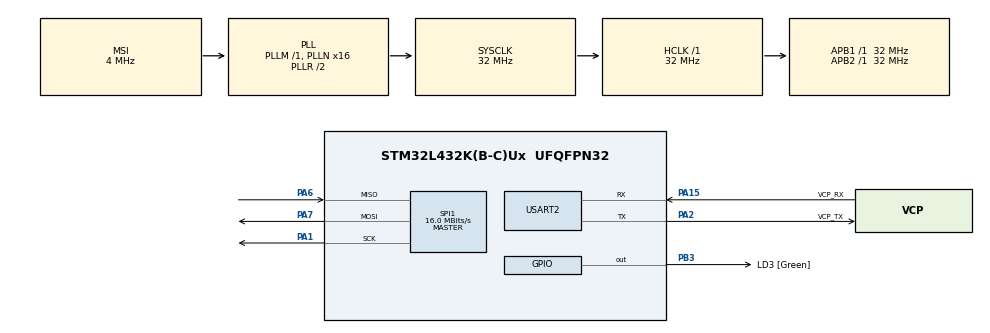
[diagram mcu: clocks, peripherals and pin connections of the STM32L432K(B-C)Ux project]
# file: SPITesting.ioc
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Mcu.Family=STM32L4
Mcu.Name=STM32L432K(B-C)Ux
Mcu.Package=UFQFPN32
NVIC.PriorityGroup=NVIC_PRIORITYGROUP_4
PA0.GPIO_Label=MCO [High speed clock in]
PA0.Mode=HSE-External-Clock-Source-for-LittleOrca
PA0.Signal=RCC_CK_IN
PA1.Mode=Full_Duplex_Master
PA1.Signal=SPI1_SCK
PA13\ (JTMS-SWDIO).GPIO_Label=SWDIO
PA13\ (JTMS-SWDIO).Mode=Serial_Wire
PA13\ (JTMS-SWDIO).Signal=SYS_JTMS-SWDIO
PA14\ (JTCK-SWCLK).GPIO_Label=SWCLK
PA14\ (JTCK-SWCLK).Mode=Serial_Wire
PA14\ (JTCK-SWCLK).Signal=SYS_JTCK-SWCLK
PA15\ (JTDI).GPIO_Label=VCP_RX
PA15\ (JTDI).Mode=Asynchronous
PA15\ (JTDI).Signal=USART2_RX
PA2.GPIO_Label=VCP_TX
PA2.Mode=Asynchronous
PA2.Signal=USART2_TX
PA6.Mode=Full_Duplex_Master
PA6.Signal=SPI1_MISO
PA7.Mode=Full_Duplex_Master
PA7.Signal=SPI1_MOSI
PB3\ (JTDO-TRACESWO).GPIO_Label=LD3 [Green]
PB3\ (JTDO-TRACESWO).Signal=GPIO_Output
PC14-OSC32_IN\ (PC14).Mode=LSE-External-Oscillator
PC14-OSC32_IN\ (PC14).Signal=RCC_OSC32_IN
PC15-OSC32_OUT\ (PC15).Mode=LSE-External-Oscillator
PC15-OSC32_OUT\ (PC15).Signal=RCC_OSC32_OUT
ProjectManager.HeapSize=0x200
ProjectManager.StackSize=0x400
ProjectManager.TargetToolchain=STM32CubeIDE
RCC.AHBFreq_Value=32000000
RCC.APB1Freq_Value=32000000
RCC.APB1TimFreq_Value=32000000
RCC.APB2Freq_Value=32000000
RCC.APB2TimFreq_Value=32000000
RCC.CortexFreq_Value=32000000
RCC.HCLKFreq_Value=32000000
RCC.HSE_VALUE=8000000
RCC.HSI16_VALUE=16000000
RCC.HSI48_VALUE=48000000
RCC.HSI_VALUE=16000000
RCC.MSI_VALUE=4000000
RCC.PLLMUL=RCC_PLLMUL_4
RCC.PLLN=16
RCC.SYSCLKFreq_VALUE=32000000
RCC.SYSCLKSource=RCC_SYSCLKSOURCE_PLLCLK
RCC.VCOOutputFreq_Value=64000000
SPI1.CalculateBaudRate=16.0 MBits/s
SPI1.DataSize=SPI_DATASIZE_4BIT
SPI1.Direction=SPI_DIRECTION_2LINES
SPI1.Mode=SPI_MODE_MASTER
SPI1.VirtualType=VM_MASTER
USART2.VirtualMode-Asynchronous=VM_ASYNC
board=NUCLEO-L432KC

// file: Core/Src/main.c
/* USER CODE BEGIN Header */
/**
  ******************************************************************************
  * @file           : main.c
  * @brief          : Main program body
  ******************************************************************************
  * @attention
  *
  * Copyright (c) 2024 STMicroelectronics.
  * All rights reserved.
  *
  * This software is licensed under terms that can be found in the LICENSE file
  * in the root directory of this software component.
  * If no LICENSE file comes with this software, it is provided AS-IS.
  *
  ******************************************************************************
  */
/* USER CODE END Header */
#include "main.h"

/* USER CODE BEGIN Includes */
#include <stdio.h>
#include <sys/unistd.h>

/* USER CODE END Includes */

SPI_HandleTypeDef hspi1;

UART_HandleTypeDef huart2;

void SystemClock_Config(void);
static void MX_GPIO_Init(void);
static void MX_USART2_UART_Init(void);
static void MX_SPI1_Init(void);
/* USER CODE BEGIN PFP */
void Radar_Receive(void);
void ProcessRadarData(uint8_t *data);
/* USER CODE END PFP */

/* USER CODE BEGIN 0 */

int _write(int file, char *data, int len) {
    for (int i = 0; i < len; i++) {
        ITM_SendChar(data[i]);  // ITM for semihosting
    }
    return len;
}

/* USER CODE END 0 */

int main(void)
{

  /* MCU Configuration--------------------------------------------------------*/

  /* Reset of all peripherals, Initializes the Flash interface and the Systick. */
  HAL_Init();

  /* Configure the system clock */
  SystemClock_Config();

  /* Initialize all configured peripherals */
  MX_GPIO_Init();
  MX_USART2_UART_Init();
  MX_SPI1_Init();

  /* Infinite loop */
  /* USER CODE BEGIN WHILE */
  while (1)
  {
	  Radar_Receive();
	  HAL_Delay(100); // simple solution for now
    /* USER CODE END WHILE */

  }
}

void SystemClock_Config(void)
{
  RCC_OscInitTypeDef RCC_OscInitStruct = {0};
  RCC_ClkInitTypeDef RCC_ClkInitStruct = {0};

  /** Configure the main internal regulator output voltage
  */
  if (HAL_PWREx_ControlVoltageScaling(PWR_REGULATOR_VOLTAGE_SCALE1) != HAL_OK)
  {
    Error_Handler();
  }

  /** Configure LSE Drive Capability
  */
  HAL_PWR_EnableBkUpAccess();
  __HAL_RCC_LSEDRIVE_CONFIG(RCC_LSEDRIVE_LOW);

  /** Initializes the RCC Oscillators according to the specified parameters
  * in the RCC_OscInitTypeDef structure.
  */
  RCC_OscInitStruct.OscillatorType = RCC_OSCILLATORTYPE_LSE|RCC_OSCILLATORTYPE_MSI;
  RCC_OscInitStruct.LSEState = RCC_LSE_ON;
  RCC_OscInitStruct.MSIState = RCC_MSI_ON;
  RCC_OscInitStruct.MSICalibrationValue = 0;
  RCC_OscInitStruct.MSIClockRange = RCC_MSIRANGE_6;
  RCC_OscInitStruct.PLL.PLLState = RCC_PLL_ON;
  RCC_OscInitStruct.PLL.PLLSource = RCC_PLLSOURCE_MSI;
  RCC_OscInitStruct.PLL.PLLM = 1;
  RCC_OscInitStruct.PLL.PLLN = 16;
  RCC_OscInitStruct.PLL.PLLP = RCC_PLLP_DIV7;
  RCC_OscInitStruct.PLL.PLLQ = RCC_PLLQ_DIV2;
  RCC_OscInitStruct.PLL.PLLR = RCC_PLLR_DIV2;
  if (HAL_RCC_OscConfig(&RCC_OscInitStruct) != HAL_OK)
  {
    Error_Handler();
  }

  /** Initializes the CPU, AHB and APB buses clocks
  */
  RCC_ClkInitStruct.ClockType = RCC_CLOCKTYPE_HCLK|RCC_CLOCKTYPE_SYSCLK
                              |RCC_CLOCKTYPE_PCLK1|RCC_CLOCKTYPE_PCLK2;
  RCC_ClkInitStruct.SYSCLKSource = RCC_SYSCLKSOURCE_PLLCLK;
  RCC_ClkInitStruct.AHBCLKDivider = RCC_SYSCLK_DIV1;
  RCC_ClkInitStruct.APB1CLKDivider = RCC_HCLK_DIV1;
  RCC_ClkInitStruct.APB2CLKDivider = RCC_HCLK_DIV1;

  if (HAL_RCC_ClockConfig(&RCC_ClkInitStruct, FLASH_LATENCY_1) != HAL_OK)
  {
    Error_Handler();
  }

  /** Enable MSI Auto calibration
  */
  HAL_RCCEx_EnableMSIPLLMode();
}

static void MX_SPI1_Init(void)
{

  /* SPI1 parameter configuration*/
  hspi1.Instance = SPI1;
  hspi1.Init.Mode = SPI_MODE_MASTER;
  hspi1.Init.Direction = SPI_DIRECTION_2LINES;
  hspi1.Init.DataSize = SPI_DATASIZE_4BIT;
  hspi1.Init.CLKPolarity = SPI_POLARITY_LOW;
  hspi1.Init.CLKPhase = SPI_PHASE_1EDGE;
  hspi1.Init.NSS = SPI_NSS_SOFT;
  hspi1.Init.BaudRatePrescaler = SPI_BAUDRATEPRESCALER_2;
  hspi1.Init.FirstBit = SPI_FIRSTBIT_MSB;
  hspi1.Init.TIMode = SPI_TIMODE_DISABLE;
  hspi1.Init.CRCCalculation = SPI_CRCCALCULATION_DISABLE;
  hspi1.Init.CRCPolynomial = 7;
  hspi1.Init.CRCLength = SPI_CRC_LENGTH_DATASIZE;
  hspi1.Init.NSSPMode = SPI_NSS_PULSE_ENABLE;
  if (HAL_SPI_Init(&hspi1) != HAL_OK)
  {
    Error_Handler();
  }

}

static void MX_USART2_UART_Init(void)
{

  huart2.Instance = USART2;
  huart2.Init.BaudRate = 115200;
  huart2.Init.WordLength = UART_WORDLENGTH_8B;
  huart2.Init.StopBits = UART_STOPBITS_1;
  huart2.Init.Parity = UART_PARITY_NONE;
  huart2.Init.Mode = UART_MODE_TX_RX;
  huart2.Init.HwFlowCtl = UART_HWCONTROL_NONE;
  huart2.Init.OverSampling = UART_OVERSAMPLING_16;
  huart2.Init.OneBitSampling = UART_ONE_BIT_SAMPLE_DISABLE;
  huart2.AdvancedInit.AdvFeatureInit = UART_ADVFEATURE_NO_INIT;
  if (HAL_UART_Init(&huart2) != HAL_OK)
  {
    Error_Handler();
  }

}

static void MX_GPIO_Init(void)
{
  GPIO_InitTypeDef GPIO_InitStruct = {0};

  /* GPIO Ports Clock Enable */
  __HAL_RCC_GPIOC_CLK_ENABLE();
  __HAL_RCC_GPIOA_CLK_ENABLE();
  __HAL_RCC_GPIOB_CLK_ENABLE();

  /*Configure GPIO pin Output Level */
  HAL_GPIO_WritePin(LD3_GPIO_Port, LD3_Pin, GPIO_PIN_RESET);

  /*Configure GPIO pin : LD3_Pin */
  GPIO_InitStruct.Pin = LD3_Pin;
  GPIO_InitStruct.Mode = GPIO_MODE_OUTPUT_PP;
  GPIO_InitStruct.Pull = GPIO_NOPULL;
  GPIO_InitStruct.Speed = GPIO_SPEED_FREQ_LOW;
  HAL_GPIO_Init(LD3_GPIO_Port, &GPIO_InitStruct);

}

/* USER CODE BEGIN 4 */

/**
 * @brief Receives radar data using SPI
 * @retval None
 */
void Radar_Receive(void)
{
	uint8_t rxData[2] = {0};
	if (HAL_SPI_Receive(&hspi1, rxData, 2, HAL_MAX_DELAY) != HAL_OK)
	{
		printf("SPI failure");
		return;
	}
	ProcessRadarData(rxData);
}

/**
 * @brief Processes radar data
 * @retval None
 */
void ProcessRadarData(uint8_t *data)
{
	printf("data: %c - %c", data[0], data[1]);
}

/* USER CODE END 4 */

void Error_Handler(void)
{
  __disable_irq();
  while (1)
  {
  }
}

#ifdef  USE_FULL_ASSERT
/**
  * @brief  Reports the name of the source file and the source line number
  *         where the assert_param error has occurred.
  * @param  file: pointer to the source file name
  * @param  line: assert_param error line source number
  * @retval None
  */
void assert_failed(uint8_t *file, uint32_t line)
{
  /* USER CODE BEGIN 6 */
  /* User can add his own implementation to report the file name and line number,
     ex: printf("Wrong parameters value: file %s on line %d\r\n", file, line) */
	printf("Wrong parameters value: file %s on line %d\r\n", file, line)
  /* USER CODE END 6 */
}
#endif /* USE_FULL_ASSERT */
